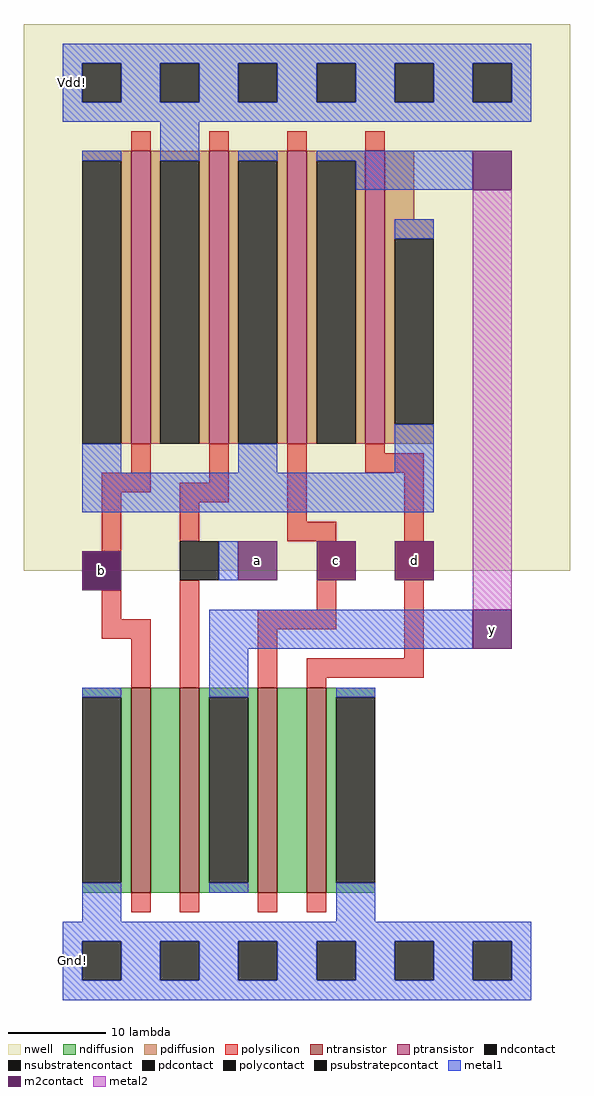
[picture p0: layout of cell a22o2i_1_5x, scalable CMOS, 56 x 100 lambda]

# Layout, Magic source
magic
tech scmos
<< nwell >>
rect -6 40 50 96
<< ntransistor >>
rect 5 7 7 28
rect 10 7 12 28
rect 18 7 20 28
rect 23 7 25 28
<< ptransistor >>
rect 5 53 7 83
rect 13 53 15 83
rect 21 53 23 83
rect 29 53 31 83
<< ndiffusion >>
rect 0 27 5 28
rect 4 8 5 27
rect 0 7 5 8
rect 7 7 10 28
rect 12 27 18 28
rect 12 8 13 27
rect 17 8 18 27
rect 12 7 18 8
rect 20 7 23 28
rect 25 27 30 28
rect 25 8 26 27
rect 25 7 30 8
<< pdiffusion >>
rect 0 82 5 83
rect 4 53 5 82
rect 7 82 13 83
rect 7 53 8 82
rect 12 53 13 82
rect 15 82 21 83
rect 15 53 16 82
rect 20 53 21 82
rect 23 82 29 83
rect 23 53 24 82
rect 28 53 29 82
rect 31 76 34 83
rect 31 74 36 76
rect 31 55 32 74
rect 31 53 36 55
<< ndcontact >>
rect 0 8 4 27
rect 13 8 17 27
rect 26 8 30 27
<< pdcontact >>
rect 0 53 4 82
rect 8 53 12 82
rect 16 53 20 82
rect 24 53 28 82
rect 32 55 36 74
<< psubstratepcontact >>
rect 0 -2 4 2
rect 8 -2 12 2
rect 16 -2 20 2
rect 24 -2 28 2
rect 32 -2 36 2
rect 40 -2 44 2
<< nsubstratencontact >>
rect 0 88 4 92
rect 8 88 12 92
rect 16 88 20 92
rect 24 88 28 92
rect 32 88 36 92
rect 40 88 44 92
<< polysilicon >>
rect 5 83 7 85
rect 13 83 15 85
rect 21 83 23 85
rect 29 83 31 85
rect 5 50 7 53
rect 2 48 7 50
rect 13 49 15 53
rect 2 42 4 48
rect 2 35 4 38
rect 10 47 15 49
rect 10 43 12 47
rect 21 45 23 53
rect 29 52 31 53
rect 29 50 35 52
rect 21 43 26 45
rect 33 43 35 50
rect 24 39 28 43
rect 32 39 36 43
rect 2 33 7 35
rect 5 28 7 33
rect 10 28 12 39
rect 24 36 26 39
rect 18 34 26 36
rect 18 28 20 34
rect 33 31 35 39
rect 23 29 35 31
rect 23 28 25 29
rect 5 5 7 7
rect 10 5 12 7
rect 18 5 20 7
rect 23 5 25 7
<< polycontact >>
rect 0 38 4 42
rect 10 39 14 43
<< metal1 >>
rect -2 92 46 94
rect -2 88 0 92
rect 4 88 8 92
rect 12 88 16 92
rect 20 88 24 92
rect 28 88 32 92
rect 36 88 40 92
rect 44 88 46 92
rect -2 86 46 88
rect 0 82 4 83
rect 8 82 12 86
rect 16 82 20 83
rect 24 82 40 83
rect 28 79 40 82
rect 32 74 36 76
rect 0 50 4 53
rect 16 50 20 53
rect 32 50 36 55
rect 0 46 36 50
rect 14 39 16 43
rect 13 32 40 36
rect 0 27 4 28
rect 0 4 4 8
rect 13 27 17 32
rect 13 7 17 8
rect 26 27 30 28
rect 26 4 30 8
rect -2 2 46 4
rect -2 -2 0 2
rect 4 -2 8 2
rect 12 -2 16 2
rect 20 -2 24 2
rect 28 -2 32 2
rect 36 -2 40 2
rect 44 -2 46 2
rect -2 -4 46 -2
<< m2contact >>
rect 40 79 44 83
rect 0 38 4 42
rect 16 39 20 43
rect 24 39 28 43
rect 32 39 36 43
rect 40 32 44 36
<< metal2 >>
rect 40 36 44 79
<< labels >>
rlabel m2contact 2 40 2 40 1 b
rlabel m2contact 18 41 18 41 1 a
rlabel m2contact 26 41 26 41 1 c
rlabel m2contact 34 41 34 41 1 d
rlabel m2contact 42 34 42 34 1 y
rlabel metal1 -1 0 -1 0 2 Gnd!
rlabel metal1 -1 90 -1 90 3 Vdd!
<< end >>
